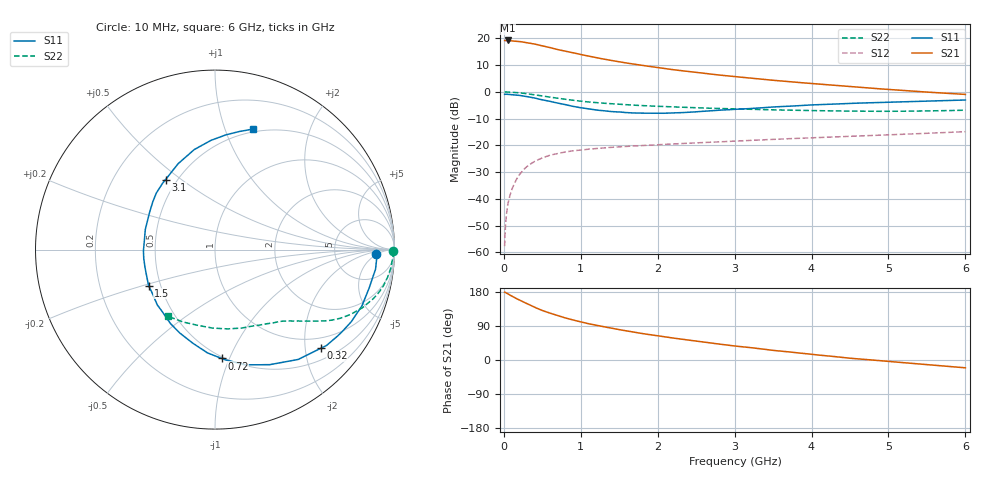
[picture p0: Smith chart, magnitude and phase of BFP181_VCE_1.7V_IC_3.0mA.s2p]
! Infineon Technologies  Discrete & RF Semiconductors
! BFP181
! VCE = 1.7 V,  IC =  3.0 mA
! Common Emitter S-Parameters:  Jan 2016
# GHz  S  MA  R  50
!  f  S11  S21  S12  S22
! GHz  MAG  ANG  MAG  ANG  MAG  ANG  MAG  ANG
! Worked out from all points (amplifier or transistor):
!   210 points, 10 MHz to 6 GHz, reference 50 ohm
!   highest |S21| = 19.2 dB at 50 MHz (marker M1)
!   |S21| within 3 dB of that: start of sweep to 644.4 MHz
!   unconditionally stable (mu >= 1): 2 GHz to end of sweep
!   at 185 MHz: K = 0.13, MSG = 25.3 dB, |S12| = -31.7 dB
!   at 1.52 GHz: K = 0.82, MSG = 15.8 dB, |S12| = -20.5 dB
!   at 6 GHz: K = 1.10, MAG = 5.1 dB, |S12| = -14.9 dB
!   S11 on the Smith chart (normalised r, x): 10 MHz: 17, -5; 320 MHz: 0.74, -2.34; 720 MHz: 0.49, -0.94; 1.5 GHz: 0.43, -0.21; 3.1 GHz: 0.43, +0.44; 6 GHz: 0.47, +1.25
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0.01  0.8993 -1.7  9.097 179.0  0.0013 89.6  0.9945 -0.6
0.025  0.9017 -3.6  9.071 177.7  0.0037 87.8  0.9949 -1.5
0.05  0.9012 -6.9  9.14 174.5  0.0076 88.5  0.9911 -3.1
0.115  0.8812 -16.1  8.945 167.5  0.0164 80.3  0.9814 -7.0
0.2  0.8593 -27.8  8.783 158.3  0.0279 73.9  0.9599 -12.1
0.26  0.8354 -35.3  8.457 152.4  0.0353 70.0  0.9386 -15.3
0.32  0.8061 -43.0  8.188 147.0  0.0421 65.8  0.914 -18.1
0.4  0.7675 -52.9  7.842 139.0  0.0501 61.1  0.8814 -21.7
0.5  0.7098 -64.6  7.248 130.6  0.0582 55.3  0.8367 -25.6
0.6  0.6651 -74.9  6.726 123.6  0.0653 51.0  0.7964 -28.7
0.72  0.6075 -86.5  6.091 115.9  0.0714 46.7  0.7523 -31.6
0.9  0.5353 -103.5  5.382 105.4  0.0789 41.4  0.6948 -35.0
1.02  0.4992 -114.4  4.923 99.6  0.0821 38.8  0.6645 -36.9
1.22  0.4539 -130.3  4.305 90.9  0.0878 35.3  0.6252 -39.6
1.5  0.4207 -151.6  3.656 80.0  0.0936 32.4  0.5852 -42.8
1.8  0.4 -172.9  3.124 69.8  0.0987 30.5  0.5525 -46.1
2.02  0.3967 173.8  2.806 63.3  0.103 29.1  0.5352 -48.7
2.6  0.4339 144.0  2.218 47.3  0.1127 26.7  0.4975 -56.5
3.1  0.4777 125.2  1.869 35.0  0.1216 24.6  0.4736 -64.2
4.1  0.5758 99.7  1.393 12.9  0.1401 20.5  0.4442 -83.0
5.1  0.6475 83.3  1.083 -5.4  0.1585 16.6  0.433 -105.0
6  0.7038 72.5  0.895 -20.6  0.1798 12.1  0.4538 -125.1
